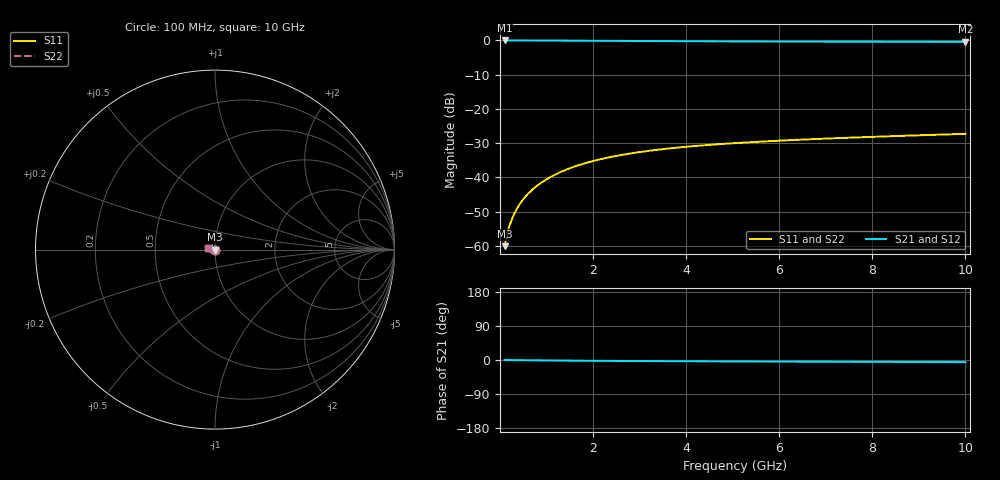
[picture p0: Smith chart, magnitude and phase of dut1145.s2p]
! Touchstone file exported from HFSS 2024.1.0
!  File:  C:/UserFiles/LocalFiles/RDL_TSV_Batchsim/temp_TSV1_1145_1780071335.aedt
!  Generated:  12:23:59 AM May 30, 2026
!  Design:  TSV1
!  Project:  temp_TSV1_1145_1780071335
!  Setup:  Setup1
!  Solution:  Sweep
! Variables:
!  dtsv = 7.67um
!  hbump = 3um
!  htsv = 86.89um
!  lrdl = 252.1521522um
!  p = 40
!  p1 = 48.4um
!  t = 500um
!  trdl = 3um
!  wrdl = 24.89489489um
# GHz S MA R 50.000000
! Terminal data exported
! Port[1] = TSV22_T1
! Port[2] = TSV22_T2
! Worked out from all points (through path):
!   100 points, 100 MHz to 10 GHz, reference 50 ohm
!   highest |S21| = 0.00 dB at 100 MHz (marker M1); lowest = -0.4 dB at 10 GHz (marker M2)
!   lowest |S11| = -60.1 dB at 100 MHz (marker M3), VSWR 1.00, Z = 50 - j0.0959 ohm
!   |S11| at or under -10 dB: start of sweep to end of sweep
!   |S22| runs from -60.1 to -27.3 dB; largest |S21 - S12| = 3.1e-15
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0.1  0.0009848 -76.6  0.9997 -0.1  0.9997 -0.1  0.0009848 -76.6
! Gamma 0 0 0 0
! Port Impedance 50 0 50 0
0.2  0.001931 -85.9  0.9996 -0.2  0.9996 -0.2  0.001931 -85.9
0.3  0.002885 -90.3  0.9994 -0.4  0.9994 -0.4  0.002885 -90.3
0.4  0.003834 -93.5  0.9992 -0.5  0.9992 -0.5  0.003834 -93.5
0.5  0.004778 -96.2  0.9989 -0.6  0.9989 -0.6  0.004778 -96.2
0.6  0.005713 -98.6  0.9986 -0.7  0.9986 -0.7  0.005713 -98.6
0.7  0.006638 -100.8  0.9982 -0.8  0.9982 -0.8  0.006638 -100.8
0.8  0.007552 -102.9  0.9977 -0.9  0.9977 -0.9  0.007552 -102.9
0.9  0.008454 -104.9  0.9972 -1.0  0.9972 -1.0  0.008454 -104.9
1.1  0.01021 -108.8  0.9961 -1.2  0.9961 -1.2  0.01021 -108.8
1.4  0.01273 -114.4  0.9941 -1.5  0.9941 -1.5  0.01273 -114.4
1.6  0.01432 -117.9  0.9927 -1.7  0.9927 -1.7  0.01432 -117.9
1.8  0.01583 -121.3  0.9911 -1.9  0.9911 -1.9  0.01583 -121.3
2.1  0.01796 -126.1  0.9887 -2.2  0.9887 -2.2  0.01796 -126.1
2.5  0.02053 -132.2  0.9855 -2.5  0.9855 -2.5  0.02053 -132.2
2.9  0.02282 -137.8  0.9823 -2.7  0.9823 -2.7  0.02282 -137.8
3.4  0.02533 -144.3  0.9786 -3.0  0.9786 -3.0  0.02533 -144.3
4.2  0.02868 -153.5  0.9734 -3.4  0.9734 -3.4  0.02868 -153.5
5.1  0.03173 -162.4  0.9685 -3.8  0.9685 -3.8  0.03173 -162.4
6.7  0.03603 -175.6  0.9623 -4.4  0.9623 -4.4  0.03603 -175.6
8.4  0.03984 173.2  0.9578 -5.0  0.9578 -5.0  0.03984 173.2
10  0.04314 164.4  0.9549 -5.6  0.9549 -5.6  0.04314 164.4
